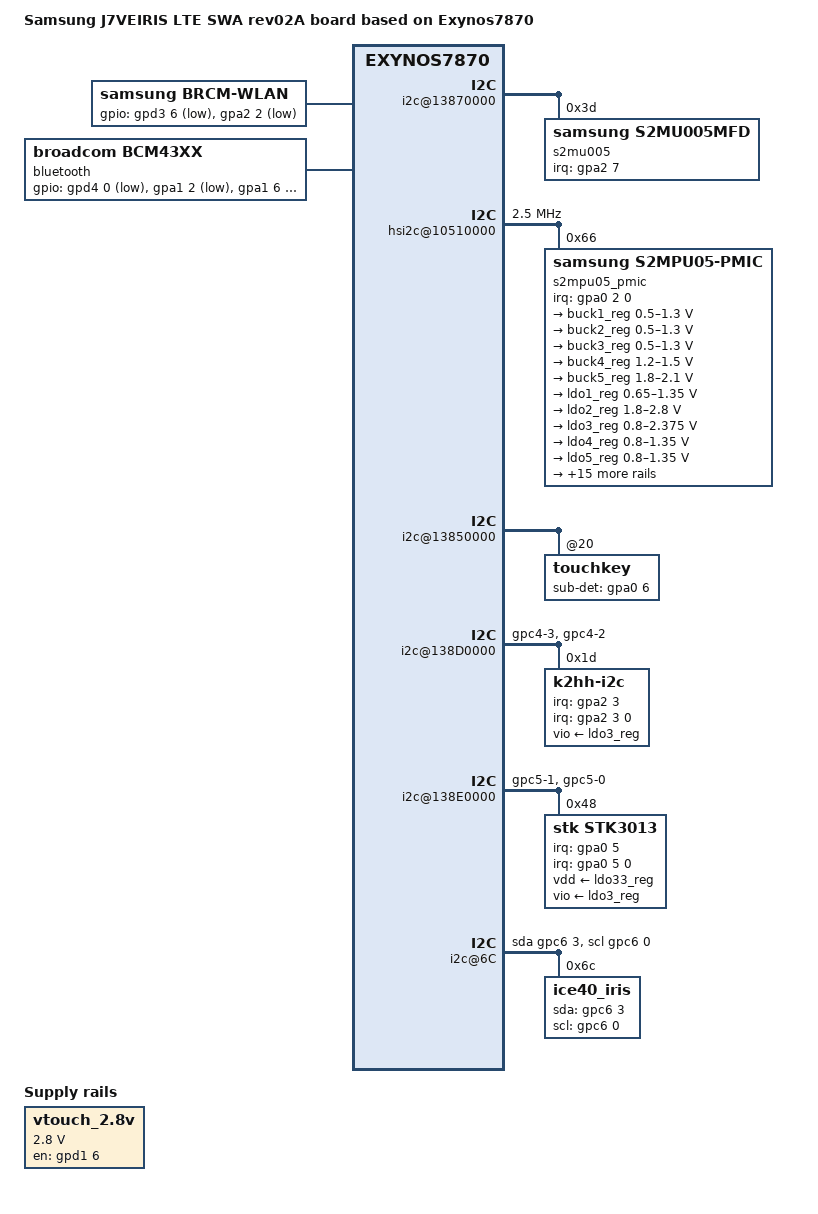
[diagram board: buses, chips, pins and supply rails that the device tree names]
/*
 * SAMSUNG UNIVERSAL8890 board device tree source
 *
 * Copyright (c) 2013 Samsung Electronics Co., Ltd.
 *		http://www.samsung.com
 *
 * This program is free software; you can redistribute it and/or modify
 * it under the terms of the GNU General Public License version 2 as
 * published by the Free Software Foundation.
*/

/dts-v1/;
#include "exynos7870-j7veirislte_common.dtsi"
#include "modem-ss315ap-pdata.dtsi"
#include "exynos7870-j7veirislte_swa_ins_gpio_00.dtsi"
#include "z_batterydata_j7veirislte.dtsi"

/ {
	model = "Samsung J7VEIRIS LTE SWA rev02A board based on Exynos7870";
        model_info-chip = <7870>;
        model_info-platform = "android";
        model_info-subtype = "samsung";
        model_info-hw_rev = <0>;
        model_info-hw_rev_end = <0>;
	compatible = "samsung, J7VEIRIS LTE SWA INS 02A", "samsung,exynos7870";

	i2c@13870000 {
		status = "okay";
		samsung,i2c-sda-delay = <100>;
		samsung,i2c-max-bus-freq = <400000>;

		s2mu005@3d {
			compatible = "samsung,s2mu005mfd";
			reg = <0x3d>;
			pinctrl-names = "default";
			pinctrl-0 = <&if_pmic_irq>;
			s2mu005,irq-gpio = <&gpa2 7 0>;
			s2mu005,wakeup;

			leds {
				flash-gpio = <&gpd3 2 0>;
				torch-gpio = <&gpd3 3 0>;

				flash_current = <1200>;
				preflash_current = <150>;
				movie_current = <175>; /*unused*/
				torch_current = <75>;
				factory_current = <300>;
				front_torch_current = <50>;

				status = "okay";
				s2mu005-leds1 {
					ledname = "leds-sec1";
					id = <0>;
					timeout = <15>; /* use gpio */
				};

				s2mu005-leds2 {
					ledname = "leds-sec2";
					id = <1>;
					timeout = <15>; /* use gpio */
				};
			};
		};
	};
/*
	i2c@13890000{
		samsung,i2c-sda-delay = <100>;
		samsung,i2c-max-bus-freq = <300000>;
		status = "okay";
		#address-cells = <1>;
		#size-cells = <0>;

		sec-nfc@27 {
			compatible = "sec-nfc";
			reg = <0x27>;
			interrupts = <6 0 0>;
			interrupt-parent = <&gpa2>;
			sec-nfc,nfc_pd = <&gpc2 2 0x2>;
			sec-nfc,firm-gpio = <&gpd4 1 0>;
			sec-nfc,irq-gpio = <&gpa2 6 0>;
			clkctrl-reg = <0x1048600C>;
			sec-nfc,nfc_clkreq = <&gpc2 3 0x2>;
			sec-nfc,pvdd_en = <&gpd2 1 0>;
			sec-nfc,check_nfc = <&gpd1 2 0x0>;
			pinctrl-names = "default";
			pinctrl-0 = <&nfc_n5_firm &nfc_n5_clk_req &nfc_pd &nfc_int &ese_pvdd_en &nfc_pvdd_en &nfc_det>;
		};
	};
*/
	but_zones: but_zones {
		#list-but-cells = <3>;
	};	

	hsi2c@10510000 {
		status = "okay";
		samsung,hs-mode;
		clock-frequency = <2500000>;
		samsung,hsi2c-batcher;
		#address-cells = <1>;
		#size-cells = <0>;

		s2mpu05_pmic@66 {
			compatible = "samsung,s2mpu05-pmic";
			reg = <0x66>;
			ten-bit-address;
			interrupts = <2 0 0>;
			interrupt-parent = <&gpa0>;
			pinctrl-names = "default";
			pinctrl-0 = <&pmic_irq &pm_wrsti>;
			g3d_en = <1>; /* 1 : enable , 0 : disable */
			buck2en_pin = "etc1-3";
			buck2en_addr = "139B0080.pinctrl";
			/* RTC: wtsr/smpl */
			wtsr_en = <1>; /* enable */
			smpl_en = <1>; /* enable */
			wtsr_timer_val = <3>;   /* 1000ms */
			smpl_timer_val = <4>;   /* 500ms */
			check_jigon = <0>; /* do not check jigon */
			/* RTC: If it's first boot, reset rtc to 1/1/2017 12:00:00(Sun) */
			init_time,sec = <0>;
			init_time,min = <0>;
			init_time,hour = <12>;
			init_time,mday = <1>;
			init_time,mon = <0>;
			init_time,year = <117>;
			init_time,wday = <0>;

			regulators {
				buck1_reg: BUCK1 {
					regulator-name = "BUCK1";
					regulator-min-microvolt = <500000>;
					regulator-max-microvolt = <1300000>;
					regulator-always-on;
					regulator-boot-on;
					regulator-ramp-delay = <12000>;
					regulator-initial-mode = <1>;
					regulator-expected-consumer = <2>;
				};

				buck2_reg: BUCK2 {
					regulator-name = "BUCK2";
					regulator-min-microvolt = <500000>;
					regulator-max-microvolt = <1300000>;
					regulator-always-on;
					regulator-boot-on;
					regulator-ramp-delay = <12000>;
					regulator-initial-mode = <2>;		/* MIF mode */
					regulator-expected-consumer = <4>;
				};

				buck3_reg: BUCK3 {
					regulator-name = "BUCK3";
					regulator-min-microvolt = <500000>;
					regulator-max-microvolt = <1300000>;
					regulator-always-on;
					regulator-boot-on;
					regulator-ramp-delay = <12000>;
					regulator-initial-mode = <2>;
				};

				buck4_reg: BUCK4 {
					regulator-name = "BUCK4";
					regulator-min-microvolt = <1200000>;
					regulator-max-microvolt = <1500000>;
					regulator-always-on;
					regulator-boot-on;
					regulator-ramp-delay = <12000>;
					regulator-initial-mode = <2>;
				};

				buck5_reg: BUCK5 {
					regulator-name = "BUCK5";
					regulator-min-microvolt = <1800000>;
					regulator-max-microvolt = <2100000>;
					regulator-always-on;
					regulator-boot-on;
					regulator-ramp-delay = <12000>;
					regulator-initial-mode = <2>;
				};

				ldo1_reg: LDO1 {
					regulator-name = "vdd_ldo1";
					regulator-min-microvolt = <650000>;
					regulator-max-microvolt = <1350000>;
					regulator-always-on;
					regulator-boot-on;
					regulator-ramp-delay = <12000>;
					regulator-initial-mode = <3>;
				};

				ldo2_reg: LDO2 {
					regulator-name = "vqmmc";
					regulator-min-microvolt = <1800000>;
					regulator-max-microvolt = <2800000>;
					regulator-ramp-delay = <12000>;
					regulator-initial-mode = <0>;
				};

				ldo3_reg: LDO3 {
					regulator-name = "vdd_ldo3";
					regulator-min-microvolt = <800000>;
					regulator-max-microvolt = <2375000>;
					regulator-boot-on;
					regulator-always-on;
					regulator-ramp-delay = <12000>;
					regulator-initial-mode = <3>;
				};

				ldo4_reg: LDO4 {
					regulator-name = "vdd_ldo4";
					regulator-min-microvolt = <800000>;
					regulator-max-microvolt = <1350000>;
					regulator-boot-on;
					regulator-always-on;
					regulator-ramp-delay = <12000>;
					regulator-initial-mode = <1>;
				};

				ldo5_reg: LDO5 {
					regulator-name = "vdd_ldo5";
					regulator-min-microvolt = <800000>;
					regulator-max-microvolt = <1350000>;
					regulator-boot-on;
					regulator-always-on;
					regulator-ramp-delay = <12000>;
					regulator-initial-mode = <3>;
				};

				ldo6_reg: LDO6 {
					regulator-name = "vdd_ldo6";
					regulator-min-microvolt = <800000>;
					regulator-max-microvolt = <1350000>;
					regulator-boot-on;
					regulator-always-on;
					regulator-ramp-delay = <12000>;
					regulator-initial-mode = <1>;
				};

				ldo7_reg: LDO7 {
					regulator-name = "vdd_ldo7";
					regulator-min-microvolt = <800000>;
					regulator-max-microvolt = <2375000>;
					regulator-boot-on;
					regulator-always-on;
					regulator-ramp-delay = <12000>;
					regulator-initial-mode = <1>;
				};

				ldo8_reg: LDO8 {
					regulator-name = "vdd_ldo8";
					regulator-min-microvolt = <1800000>;
					regulator-max-microvolt = <3375000>;
					regulator-boot-on;
					regulator-always-on;
					regulator-ramp-delay = <12000>;
					regulator-initial-mode = <1>;
				};

				ldo9_reg: LDO9 {
					regulator-name = "vdd_ldo9";
					regulator-min-microvolt = <650000>;
					regulator-max-microvolt = <1350000>;
					regulator-always-on;
					regulator-ramp-delay = <12000>;
					regulator-initial-mode = <1>;
				};

				ldo10_reg: LDO10 {
					regulator-name = "vdd_ldo10";
					regulator-min-microvolt = <650000>;
					regulator-max-microvolt = <1350000>;
					regulator-always-on;
					regulator-ramp-delay = <12000>;
					regulator-initial-mode = <1>;
				};

				ldo25_reg: LDO25 {
					regulator-name = "vdd_ldo25";
					regulator-min-microvolt = <800000>;
					regulator-max-microvolt = <2375000>;
					regulator-ramp-delay = <12000>;
					regulator-initial-mode = <1>;
				};

				ldo26_reg: LDO26 {
					regulator-name = "vemmc";
					regulator-min-microvolt = <1800000>;
					regulator-max-microvolt = <3375000>;
					regulator-boot-on;
					regulator-ramp-delay = <12000>;
					regulator-initial-mode = <3>;
				};

				ldo27_reg: LDO27 {
					regulator-name = "vqemmc";
					regulator-min-microvolt = <800000>;
					regulator-max-microvolt = <2375000>;
					regulator-boot-on;
					regulator-ramp-delay = <12000>;
					regulator-initial-mode = <3>;
				};

				ldo29_reg: LDO29 {
					regulator-name = "LCD_3P0";
					regulator-min-microvolt = <3000000>;
					regulator-max-microvolt = <3000000>;
					regulator-boot-on;
					regulator-ramp-delay = <12000>;
					regulator-initial-mode = <3>;
				};

				ldo30_reg: LDO30 {
					regulator-name = "LCD_1P8";
					regulator-min-microvolt = <1800000>;
					regulator-max-microvolt = <1800000>;
					regulator-boot-on;
					regulator-ramp-delay = <12000>;
					regulator-initial-mode = <3>;
				};

				ldo31_reg: LDO31 {
					regulator-name = "vdd_ldo31";
					regulator-min-microvolt = <2800000>;
					regulator-max-microvolt = <2800000>;
					regulator-boot-on;
					regulator-always-on;
					regulator-ramp-delay = <12000>;
					regulator-initial-mode = <3>;
				};

				ldo32_reg: LDO32 {
					regulator-name = "VDD_MOTOR_3.3";
					regulator-min-microvolt = <3300000>;
					regulator-max-microvolt = <3300000>;
					regulator-ramp-delay = <12000>;
				};

				ldo33_reg: LDO33 {
					regulator-name = "vdd_sensor_3p3";
					regulator-min-microvolt = <3300000>;
					regulator-max-microvolt = <3300000>;
					regulator-ramp-delay = <12000>;
					regulator-boot-on;
					regulator-always-on;		
					regulator-initial-mode = <3>;
				};

				ldo34_reg: LDO34 {
					regulator-name = "tsp_dvdd";
					regulator-min-microvolt = <3300000>;
					regulator-max-microvolt = <3300000>;
					regulator-ramp-delay = <12000>;
					regulator-initial-mode = <1>;
				};

				ldo35_reg: LDO35 {
					regulator-name = "VDD_CAM_SENSOR_A2P8";
					regulator-min-microvolt = <2800000>;
					regulator-max-microvolt = <2800000>;
					regulator-initial-mode = <0>;
				};
			};
		};

	};

	wlan {
		compatible = "samsung,brcm-wlan";
		gpios = <&gpd3 6 0x1 /* WLAN_EN */
		&gpa2 2 0x1 /* WLAN HOST WAKE GPIO_0 */>;
		pinctrl-names = "default";
		pinctrl-0 = <&cfg_wlanen &cfg_wlanhostwake>;
		status = "okay";
	};
	
	touch_3p3_en {
		compatible = "regulator-fixed";
		regulator-name = "vtouch_2.8v";
		regulator-min-microvolt = <2800000>;
		regulator-max-microvolt = <2800000>;
		gpio = <&gpd1 6 0>;
		enable-active-high;
	};

	i2c@13850000 {
		touchkey@20 {
			coreriver,sub-det-gpio = <&gpa0 6 0>;
			coreriver,regulator_ic = "vtouch_2.8v";
		};
	};

	bluetooth {
		compatible = "broadcom,bcm43xx";
		gpios = <&gpd4 0 0x1	/*BT_EN*/
				&gpa1 2 0x1	/*BT_WAKE*/
				&gpa1 6 0xF	/*BT_HOST_WAKE*/ >;
		pinctrl-names = "default";
		pinctrl-0=<&bt_hostwake &bt_btwake &bt_en>;
		fm-lna-en = <&gpa1 3 1>;
		status = "okay";
	};

	pinctrl@139F0000 {
		acc_int: acc_int {
			samsung,pins = "gpa2-3";
			samsung,pin-function = <0xf>;
			samsung,pin-pud = <0>;
			samsung,pin-drv = <0>;
		};

		prox_int: prox_int {
			samsung,pins = "gpa0-5";
			samsung,pin-function = <0xf>;
			samsung,pin-pud = <3>;
			samsung,pin-drv = <0>;
		};
		
		cfg_wlanhostwake: cfg-wlanhostwake {
			samsung,pins = "gpa2-2";
			samsung,pin-function = <0>;
			samsung,pin-pud = <1>;
		};
	};

	pinctrl@13750000 {
		sd1_bus1: sd1-bus-width1 {
			samsung,pin-pud = <3>;
		};

		sd1_bus4: sd1-bus-width4 {
			samsung,pin-pud = <3>;
		};

	};

	pinctrl@139B0000 {
		sensor_i2c: sensor_i2c {
			samsung,pins = "gpc4-3", "gpc4-2";
			samsung,pin-function = <2>;
			samsung,pin-pud = <0>;
		};

		proxy_i2c: proxy_i2c {
			samsung,pins = "gpc5-1", "gpc5-0";
			samsung,pin-function = <2>;
			samsung,pin-pud = <0>;
		};

		grip_i2c: grip_i2c-bus {
			samsung,pins = "gpc1-3", "gpc1-2";
			samsung,pin-function = <2>;
			samsung,pin-pud = <0>;
		};

		cfg_wlanen: cfg-wlanen  {       /* WLAN_EN */
			samsung,pins = "gpd3-6";
			samsung,pin-function = <1>;
			samsung,pin-pud = <0>;
			samsung,pin-drv = <3>;
			samsung,pin-con-pdn = <3>;
			samsung,pin-pud-pdn = <0>;
			samsung,pin-val = <0>;
		};

		nfc_det: nfc-det {
			samsung,pins = "gpd1-2";
			samsung,pin-function = <0>;
			samsung,pin-pud = <0>;
		};		
	};

	i2c@138D0000 {
		samsung,i2c-sda-delay = <100>;
		samsung,i2c-max-bus-freq = <400000>;
		status = "okay";
		#address-cells = <1>;
		#size-cells = <0>;
		pinctrl-names = "default";
		pinctrl-0 = <&sensor_i2c>;

		k2hh-i2c@1D {
			compatible = "k2hh-i2c";
			reg = <0x1D>;
			pinctrl-names = "default";
			pinctrl-0 = <&acc_int>;
			interrupt-parent = <&gpa2>;
			interrupts = <3 0 0>;
			k2hh,irq_gpio = <&gpa2 3 0>;
			k2hh,vio-supply = <&ldo3_reg>;
			k2hh,axis_map_x = <1>;
			k2hh,axis_map_y = <0>;
			k2hh,axis_map_z = <2>;
			k2hh,negate_x = <0>;
			k2hh,negate_y = <1>;
			k2hh,negate_z = <1>;
			k2hh,poll_interval = <100>;
			k2hh,min_interval = <2>;
		};
	};

	i2c@138E0000 {
		samsung,i2c-sda-delay = <100>;
		samsung,i2c-max-bus-freq = <400000>;
		status = "okay";
		#address-cells = <1>;
		#size-cells = <0>;
		pinctrl-names = "default";
		pinctrl-0 = <&proxy_i2c>;

		stk3013@48 {
			compatible = "stk,stk3013";
			reg = <0x48>;
			pinctrl-names = "default";
			pinctrl-0 = <&prox_int>;
			interrupt-parent = <&gpa0>;
			interrupts = <5 0 0>;
			stk,irq-gpio = <&gpa0 5 0x00>;
			stk,vdd-supply = <&ldo33_reg>;
			stk,vio-supply = <&ldo3_reg>;
			stk,vled_ldo = <&gpd4 2 0x1>;
			stk,state-reg = <0x2d>;
			stk,psctrl-reg = <0x71>;
			stk,alsctrl-reg = <0x2A>;
			stk,ledctrl-reg = <0xBF>;
			stk,wait-reg = <0x03>;
			stk,ps-thd-h = <20>;
			stk,ps-thd-l = <10>;
			stk,ps-cancel-thd-h = <13>;
			stk,ps-cancel-thd-l = <10>;
			stk,ps-cal-skip-adc = <6>;
			stk,ps-cal-fail-adc = <23>;
			stk,ps-default-offset = <3>;
			stk,transmittance = <500>;
			stk,ps-alert-mode-support = <1>; /* iris sensor projects(1), others(0) */
			stk,ps-alert-thd = <6>;
		};
	};
	
	pinctrl@139B0000 {
		ice40_iris_fw_ready: ice40_iris_fw_ready {
			samsung,pins = "gpc6-3", "gpc6-0", "gpd4-1", "gpf2-1", "gpc6-1";
			samsung,pin-function = <0>;
			samsung,pin-pud = <0>;
			samsung,pin-drv = <2>;
		};
	};

	i2c@6C {
		compatible = "i2c-gpio";
		gpios = <&gpc6 3 0 /* sda */
			&gpc6 0 0 /* scl */
			>;
		#i2c-gpio-scl = <&gpc6 0 0>;
		#i2c-gpio-sda = <&gpc6 3 0>;
		i2c-gpio,delay-us = <2>;
		#address-cells = <1>;
		#size-cells = <0>;
		status="okay";

		ice40_iris@6C {
			compatible = "ice40_iris";
			reg = <0x6C>;
			pinctrl-names = "ice40_iris_fw_ready";
			pinctrl-0 = <&ice40_iris_fw_ready>;
			ice40,fw_ver = <1>;
			ice40,sda-gpio = <&gpc6 3 0>;
			ice40,scl-gpio = <&gpc6 0 0>;
			ice40,cresetb = <&gpd4 1 0>;
			ice40,cdone = <&gpf2 1 0>;
			ice40,reset_n = <&gpc6 1 0>;
			ice40,fpga_clk=<&gpq0 0 0>;
			ice40,gpio_iris_1p2_en = <&gpd1 2 0>;
		};
	};

	hsi2c_6: hsi2c@138F0000 {
		status = "disable";
	};
};
